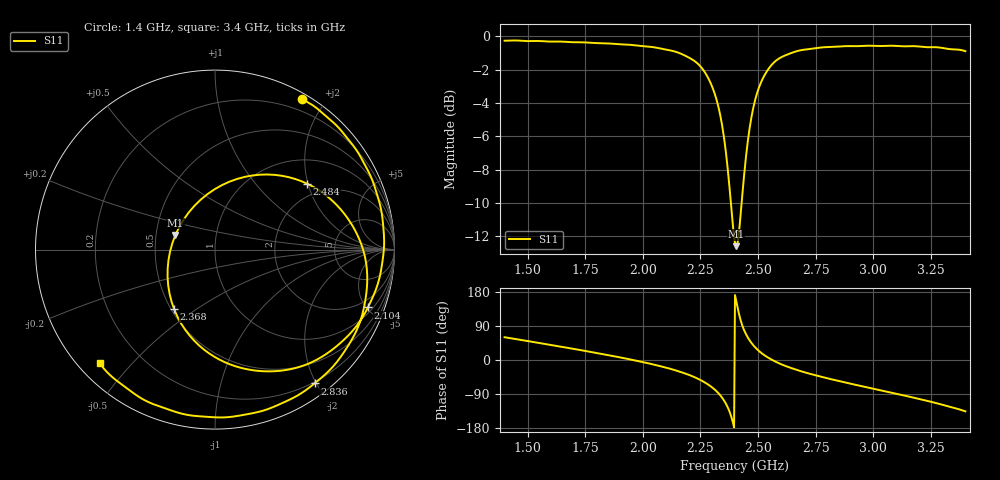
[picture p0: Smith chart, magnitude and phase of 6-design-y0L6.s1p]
#  Hz  S  RI  R  50
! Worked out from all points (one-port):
!   501 points, 1.4 GHz to 3.4 GHz, reference 50 ohm
!   lowest |S11| = -12.6 dB at 2.404 GHz (marker M1), VSWR 1.61, Z = 31.6 + j5.47 ohm
!   |S11| at or under -10 dB: 2.382 GHz to 2.429 GHz (46.56 MHz wide, 1.94 % of centre)
!   S11 on the Smith chart (normalised r, x): 1.4 GHz: 0.06, +1.73; 2.104 GHz: 1.35, -5.13; 2.368 GHz: 0.52, -0.41; 2.484 GHz: 1.61, +1.97; 2.836 GHz: 0.18, -1.98; 3.4 GHz: 0.06, -0.41
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1.4e9  0.4835 0.8402
1.652e9  0.7954 0.5431
1.9e9  0.9387 0.1157
2.016e9  0.9235 -0.1238
2.104e9  0.852 -0.3223
2.152e9  0.7797 -0.4368
2.232e9  0.5652 -0.6145
2.296e9  0.2447 -0.676
2.336e9  -0.0319 -0.5789
2.368e9  -0.2273 -0.333
2.384e9  -0.2642 -0.1542
2.4e9  -0.2374 0.036
2.404e9  -0.2202 0.0819
2.424e9  -0.0791 0.2787
2.444e9  0.1226 0.3935
2.464e9  0.3331 0.4163
2.484e9  0.5117 0.368
2.516e9  0.7006 0.2237
2.552e9  0.8081 0.0476
2.592e9  0.8478 -0.134
2.652e9  0.8243 -0.3474
2.732e9  0.7272 -0.5585
2.836e9  0.5548 -0.7456
2.9e9  0.4335 -0.8273
3.016e9  0.1957 -0.9142
3.152e9  -0.0996 -0.9277
3.276e9  -0.3793 -0.8455
3.4e9  -0.6431 -0.6321
